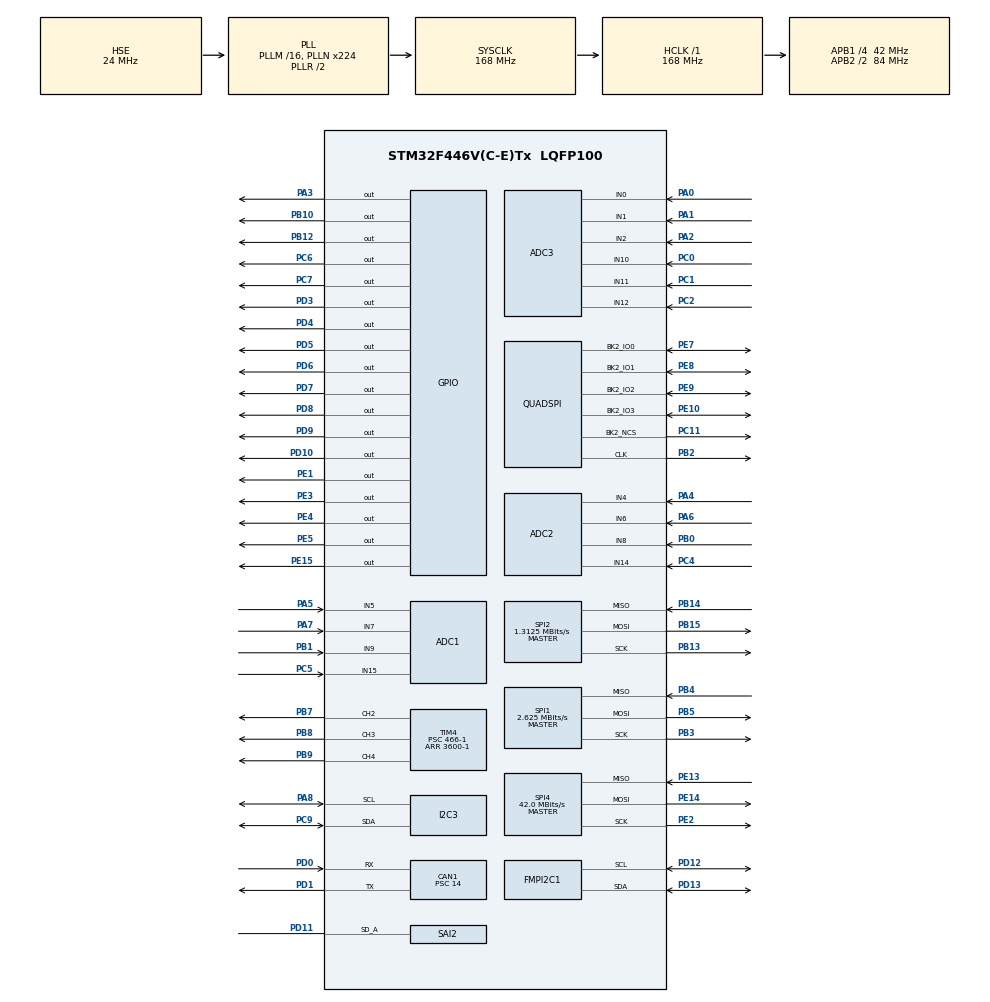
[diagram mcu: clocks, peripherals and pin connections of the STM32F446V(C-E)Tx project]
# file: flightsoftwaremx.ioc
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ADC1.Channel-1\#ChannelRegularConversion=ADC_CHANNEL_9
ADC1.Channel-2\#ChannelRegularConversion=ADC_CHANNEL_5
ADC1.Channel-3\#ChannelRegularConversion=ADC_CHANNEL_5
ADC1.Channel-4\#ChannelRegularConversion=ADC_CHANNEL_5
ADC1.ClockPrescaler=ADC_CLOCK_SYNC_PCLK_DIV4
ADC1.ContinuousConvMode=DISABLE
ADC1.DMAAccessMode=ADC_DMAACCESSMODE_2
ADC1.DMAContinuousRequests=ENABLE
ADC1.EOCSelection=ADC_EOC_SEQ_CONV
ADC1.ExternalTrigConv=ADC_EXTERNALTRIGCONV_T3_TRGO
ADC1.Mode=ADC_DUALMODE_INTERL
ADC1.NbrOfConversion=4
ADC1.NbrOfConversionFlag=1
ADC1.Rank-1\#ChannelRegularConversion=1
ADC1.Rank-2\#ChannelRegularConversion=2
ADC1.Rank-3\#ChannelRegularConversion=3
ADC1.Rank-4\#ChannelRegularConversion=4
ADC1.SamplingTime-1\#ChannelRegularConversion=ADC_SAMPLETIME_3CYCLES
ADC1.SamplingTime-2\#ChannelRegularConversion=ADC_SAMPLETIME_3CYCLES
ADC1.SamplingTime-3\#ChannelRegularConversion=ADC_SAMPLETIME_3CYCLES
ADC1.SamplingTime-4\#ChannelRegularConversion=ADC_SAMPLETIME_3CYCLES
ADC1.master=1
ADC2.Channel-0\#ChannelRegularConversion=ADC_CHANNEL_8
ADC2.Channel-1\#ChannelRegularConversion=ADC_CHANNEL_4
ADC2.Channel-2\#ChannelRegularConversion=ADC_CHANNEL_4
ADC2.Channel-3\#ChannelRegularConversion=ADC_CHANNEL_4
ADC2.DMAAccessMode=ADC_DMAACCESSMODE_2
ADC2.Mode=ADC_DUALMODE_INTERL
ADC2.NbrOfConversion=4
ADC2.NbrOfConversionFlag=1
ADC2.Rank-0\#ChannelRegularConversion=1
ADC2.Rank-1\#ChannelRegularConversion=2
ADC2.Rank-2\#ChannelRegularConversion=3
ADC2.Rank-3\#ChannelRegularConversion=4
ADC2.SamplingTime-0\#ChannelRegularConversion=ADC_SAMPLETIME_15CYCLES
ADC2.SamplingTime-1\#ChannelRegularConversion=ADC_SAMPLETIME_15CYCLES
ADC2.SamplingTime-2\#ChannelRegularConversion=ADC_SAMPLETIME_15CYCLES
ADC2.SamplingTime-3\#ChannelRegularConversion=ADC_SAMPLETIME_15CYCLES
ADC2.ScanConvMode=ENABLE
ADC3.Channel-0\#ChannelRegularConversion=ADC_CHANNEL_0
ADC3.Channel-1\#ChannelRegularConversion=ADC_CHANNEL_0
ADC3.Channel-2\#ChannelRegularConversion=ADC_CHANNEL_0
ADC3.Channel-3\#ChannelRegularConversion=ADC_CHANNEL_0
ADC3.Channel-4\#ChannelRegularConversion=ADC_CHANNEL_0
ADC3.Channel-5\#ChannelRegularConversion=ADC_CHANNEL_0
ADC3.DMAContinuousRequests=ENABLE
ADC3.EOCSelection=ADC_EOC_SEQ_CONV
ADC3.ExternalTrigConv=ADC_EXTERNALTRIGCONV_T3_TRGO
ADC3.NbrOfConversion=6
ADC3.NbrOfConversionFlag=1
ADC3.Rank-0\#ChannelRegularConversion=1
ADC3.Rank-1\#ChannelRegularConversion=2
ADC3.Rank-2\#ChannelRegularConversion=3
ADC3.Rank-3\#ChannelRegularConversion=4
ADC3.Rank-4\#ChannelRegularConversion=5
ADC3.Rank-5\#ChannelRegularConversion=6
ADC3.SamplingTime-0\#ChannelRegularConversion=ADC_SAMPLETIME_15CYCLES
ADC3.SamplingTime-1\#ChannelRegularConversion=ADC_SAMPLETIME_15CYCLES
ADC3.SamplingTime-2\#ChannelRegularConversion=ADC_SAMPLETIME_15CYCLES
ADC3.SamplingTime-3\#ChannelRegularConversion=ADC_SAMPLETIME_15CYCLES
ADC3.SamplingTime-4\#ChannelRegularConversion=ADC_SAMPLETIME_15CYCLES
ADC3.SamplingTime-5\#ChannelRegularConversion=ADC_SAMPLETIME_15CYCLES
ADC3.ScanConvMode=ENABLE
CAN1.BS1=CAN_BS1_2TQ
CAN1.BS2=CAN_BS2_3TQ
CAN1.CalculateBaudRate=499999
CAN1.CalculateTimeBit=2000
CAN1.CalculateTimeQuantum=333.33333333333337
CAN1.NART=ENABLE
CAN1.Prescaler=14
CAN1.SJW=CAN_SJW_2TQ
Dma.ADC1.0.Direction=DMA_PERIPH_TO_MEMORY
Dma.ADC1.0.FIFOMode=DMA_FIFOMODE_DISABLE
Dma.ADC1.0.Instance=DMA2_Stream0
Dma.ADC1.0.MemDataAlignment=DMA_MDATAALIGN_WORD
Dma.ADC1.0.MemInc=DMA_MINC_ENABLE
Dma.ADC1.0.Mode=DMA_CIRCULAR
Dma.ADC1.0.PeriphDataAlignment=DMA_PDATAALIGN_WORD
Dma.ADC1.0.PeriphInc=DMA_PINC_DISABLE
Dma.ADC1.0.Priority=DMA_PRIORITY_HIGH
Dma.ADC3.5.Direction=DMA_PERIPH_TO_MEMORY
Dma.ADC3.5.FIFOMode=DMA_FIFOMODE_DISABLE
Dma.ADC3.5.Instance=DMA2_Stream1
Dma.ADC3.5.MemDataAlignment=DMA_MDATAALIGN_WORD
Dma.ADC3.5.MemInc=DMA_MINC_ENABLE
Dma.ADC3.5.Mode=DMA_CIRCULAR
Dma.ADC3.5.PeriphDataAlignment=DMA_PDATAALIGN_WORD
Dma.ADC3.5.PeriphInc=DMA_PINC_DISABLE
Dma.ADC3.5.Priority=DMA_PRIORITY_HIGH
Dma.Request0=ADC1
Dma.Request1=SPI2_RX
Dma.Request2=SPI1_RX
Dma.Request3=SPI1_TX
Dma.Request4=TIM4_UP
Dma.Request5=ADC3
Dma.Request6=TIM4_CH3
Dma.Request7=SPI2_TX
Dma.SPI1_RX.2.Direction=DMA_PERIPH_TO_MEMORY
Dma.SPI1_RX.2.FIFOMode=DMA_FIFOMODE_DISABLE
Dma.SPI1_RX.2.Instance=DMA2_Stream2
Dma.SPI1_RX.2.MemDataAlignment=DMA_MDATAALIGN_BYTE
Dma.SPI1_RX.2.MemInc=DMA_MINC_ENABLE
Dma.SPI1_RX.2.Mode=DMA_NORMAL
Dma.SPI1_RX.2.PeriphDataAlignment=DMA_PDATAALIGN_BYTE
Dma.SPI1_RX.2.PeriphInc=DMA_PINC_DISABLE
Dma.SPI1_RX.2.Priority=DMA_PRIORITY_LOW
Dma.SPI1_TX.3.Direction=DMA_MEMORY_TO_PERIPH
Dma.SPI1_TX.3.FIFOMode=DMA_FIFOMODE_DISABLE
Dma.SPI1_TX.3.Instance=DMA2_Stream5
Dma.SPI1_TX.3.MemDataAlignment=DMA_MDATAALIGN_BYTE
Dma.SPI1_TX.3.MemInc=DMA_MINC_ENABLE
Dma.SPI1_TX.3.Mode=DMA_NORMAL
Dma.SPI1_TX.3.PeriphDataAlignment=DMA_PDATAALIGN_BYTE
Dma.SPI1_TX.3.PeriphInc=DMA_PINC_DISABLE
Dma.SPI1_TX.3.Priority=DMA_PRIORITY_LOW
Dma.SPI2_RX.1.Direction=DMA_PERIPH_TO_MEMORY
Dma.SPI2_RX.1.FIFOMode=DMA_FIFOMODE_DISABLE
Dma.SPI2_RX.1.Instance=DMA1_Stream3
Dma.SPI2_RX.1.MemDataAlignment=DMA_MDATAALIGN_BYTE
Dma.SPI2_RX.1.MemInc=DMA_MINC_ENABLE
Dma.SPI2_RX.1.Mode=DMA_NORMAL
Dma.SPI2_RX.1.PeriphDataAlignment=DMA_PDATAALIGN_BYTE
Dma.SPI2_RX.1.PeriphInc=DMA_PINC_DISABLE
Dma.SPI2_RX.1.Priority=DMA_PRIORITY_LOW
Dma.SPI2_TX.7.Direction=DMA_MEMORY_TO_PERIPH
Dma.SPI2_TX.7.FIFOMode=DMA_FIFOMODE_DISABLE
Dma.SPI2_TX.7.Instance=DMA1_Stream4
Dma.SPI2_TX.7.MemDataAlignment=DMA_MDATAALIGN_BYTE
Dma.SPI2_TX.7.MemInc=DMA_MINC_ENABLE
Dma.SPI2_TX.7.Mode=DMA_NORMAL
Dma.SPI2_TX.7.PeriphDataAlignment=DMA_PDATAALIGN_BYTE
Dma.SPI2_TX.7.PeriphInc=DMA_PINC_DISABLE
Dma.SPI2_TX.7.Priority=DMA_PRIORITY_LOW
Dma.TIM4_CH3.6.Direction=DMA_PERIPH_TO_MEMORY
Dma.TIM4_CH3.6.FIFOMode=DMA_FIFOMODE_DISABLE
Dma.TIM4_CH3.6.Instance=DMA1_Stream7
Dma.TIM4_CH3.6.MemDataAlignment=DMA_MDATAALIGN_HALFWORD
Dma.TIM4_CH3.6.MemInc=DMA_MINC_ENABLE
Dma.TIM4_CH3.6.Mode=DMA_NORMAL
Dma.TIM4_CH3.6.PeriphDataAlignment=DMA_PDATAALIGN_HALFWORD
Dma.TIM4_CH3.6.PeriphInc=DMA_PINC_DISABLE
Dma.TIM4_CH3.6.Priority=DMA_PRIORITY_LOW
Dma.TIM4_UP.4.Direction=DMA_PERIPH_TO_MEMORY
Dma.TIM4_UP.4.FIFOMode=DMA_FIFOMODE_DISABLE
Dma.TIM4_UP.4.Instance=DMA1_Stream6
Dma.TIM4_UP.4.MemDataAlignment=DMA_MDATAALIGN_HALFWORD
Dma.TIM4_UP.4.MemInc=DMA_MINC_ENABLE
Dma.TIM4_UP.4.Mode=DMA_NORMAL
Dma.TIM4_UP.4.PeriphDataAlignment=DMA_PDATAALIGN_HALFWORD
Dma.TIM4_UP.4.PeriphInc=DMA_PINC_DISABLE
Dma.TIM4_UP.4.Priority=DMA_PRIORITY_LOW
FMPI2C1.Timing=0x00A0A3F7
Mcu.Family=STM32F4
Mcu.Name=STM32F446V(C-E)Tx
Mcu.Package=LQFP100
NVIC.ADC_IRQn=true\:0\:0\:false\:false\:true\:true\:true\:true
NVIC.CAN1_RX0_IRQn=true\:0\:0\:false\:false\:true\:true\:true\:true
NVIC.DMA1_Stream3_IRQn=true\:0\:0\:false\:false\:true\:false\:true\:true
NVIC.DMA1_Stream4_IRQn=true\:0\:0\:false\:false\:true\:false\:true\:true
NVIC.DMA1_Stream6_IRQn=true\:0\:0\:false\:false\:true\:false\:true\:true
NVIC.DMA1_Stream7_IRQn=true\:0\:0\:false\:false\:true\:false\:true\:true
NVIC.DMA2_Stream0_IRQn=true\:0\:0\:false\:false\:true\:false\:true\:true
NVIC.DMA2_Stream1_IRQn=true\:0\:0\:false\:false\:true\:false\:true\:true
NVIC.DMA2_Stream2_IRQn=true\:0\:0\:false\:false\:true\:false\:true\:true
NVIC.DMA2_Stream5_IRQn=true\:0\:0\:false\:false\:true\:false\:true\:true
NVIC.PriorityGroup=NVIC_PRIORITYGROUP_4
PA0-WKUP.Signal=ADCx_IN0
PA1.Signal=ADCx_IN1
PA13.Mode=Serial_Wire
PA13.Signal=SYS_JTMS-SWDIO
PA14.Mode=Serial_Wire
PA14.Signal=SYS_JTCK-SWCLK
PA2.Signal=ADCx_IN2
PA3.Signal=GPIO_Output
PA4.Signal=ADCx_IN4
PA5.Signal=ADCx_IN5
PA6.Signal=ADCx_IN6
PA7.Signal=ADCx_IN7
PA8.Mode=I2C
PA8.Signal=I2C3_SCL
PB0.Signal=ADCx_IN8
PB1.Signal=ADCx_IN9
PB10.Signal=GPIO_Output
PB12.Signal=GPIO_Output
PB13.Mode=Full_Duplex_Master
PB13.Signal=SPI2_SCK
PB14.GPIO_PuPd=GPIO_NOPULL
PB14.Mode=Full_Duplex_Master
PB14.Signal=SPI2_MISO
PB14.Stacked=true
PB15.GPIO_PuPd=GPIO_PULLUP
PB15.Mode=Full_Duplex_Master
PB15.Signal=SPI2_MOSI
PB2.Mode=Single Bank 2
PB2.Signal=QUADSPI_CLK
PB3.Mode=Full_Duplex_Master
PB3.Signal=SPI1_SCK
PB4.Mode=Full_Duplex_Master
PB4.Signal=SPI1_MISO
PB5.Mode=Full_Duplex_Master
PB5.Signal=SPI1_MOSI
PB7.Signal=S_TIM4_CH2
PB8.Signal=S_TIM4_CH3
PB9.Signal=S_TIM4_CH4
PC0.Signal=ADCx_IN10
PC1.Signal=ADCx_IN11
PC11.Mode=Single Bank 2
PC11.Signal=QUADSPI_BK2_NCS
PC14-OSC32_IN.Mode=LSE-External-Oscillator
PC14-OSC32_IN.Signal=RCC_OSC32_IN
PC15-OSC32_OUT.Mode=LSE-External-Oscillator
PC15-OSC32_OUT.Signal=RCC_OSC32_OUT
PC2.Signal=ADCx_IN12
PC4.Signal=ADCx_IN14
PC5.Signal=ADCx_IN15
PC6.Signal=GPIO_Output
PC7.Signal=GPIO_Output
PC9.Mode=I2C
PC9.Signal=I2C3_SDA
PD0.GPIO_PuPd=GPIO_PULLUP
PD0.Mode=CAN_Activate
PD0.Signal=CAN1_RX
PD1.Mode=CAN_Activate
PD1.Signal=CAN1_TX
PD10.Signal=GPIO_Output
PD11.Mode=SAI_A_SPDIF
PD11.Signal=SAI2_SD_A
PD12.Mode=I2C
PD12.Signal=FMPI2C1_SCL
PD13.Mode=I2C
PD13.Signal=FMPI2C1_SDA
PD3.Signal=GPIO_Output
PD4.Signal=GPIO_Output
PD5.Signal=GPIO_Output
PD6.Signal=GPIO_Output
PD7.Signal=GPIO_Output
PD8.Signal=GPIO_Output
PD9.Signal=GPIO_Output
PE1.Signal=GPIO_Output
PE10.Mode=Single Bank 2
PE10.Signal=QUADSPI_BK2_IO3
PE13.Mode=Full_Duplex_Master
PE13.Signal=SPI4_MISO
PE14.Mode=Full_Duplex_Master
PE14.Signal=SPI4_MOSI
PE15.Signal=GPIO_Output
PE2.Mode=Full_Duplex_Master
PE2.Signal=SPI4_SCK
PE3.Signal=GPIO_Output
PE4.Signal=GPIO_Output
PE5.Signal=GPIO_Output
PE7.Mode=Single Bank 2
PE7.Signal=QUADSPI_BK2_IO0
PE8.Mode=Single Bank 2
PE8.Signal=QUADSPI_BK2_IO1
PE9.Mode=Single Bank 2
PE9.Signal=QUADSPI_BK2_IO2
PH0-OSC_IN.Mode=HSE-External-Oscillator
PH0-OSC_IN.Signal=RCC_OSC_IN
PH1-OSC_OUT.Mode=HSE-External-Oscillator
PH1-OSC_OUT.Signal=RCC_OSC_OUT
ProjectManager.HeapSize=0x200
ProjectManager.StackSize=0x400
ProjectManager.TargetToolchain=STM32CubeIDE
RCC.AHBFreq_Value=168000000
RCC.APB1CLKDivider=RCC_HCLK_DIV4
RCC.APB1Freq_Value=42000000
RCC.APB1TimFreq_Value=84000000
RCC.APB2CLKDivider=RCC_HCLK_DIV2
RCC.APB2Freq_Value=84000000
RCC.APB2TimFreq_Value=168000000
RCC.CortexFreq_Value=168000000
RCC.HCLKFreq_Value=168000000
RCC.HSE_VALUE=24000000
RCC.PLLN=224
RCC.PLLQ=7
RCC.PLLSourceVirtual=RCC_PLLSOURCE_HSE
RCC.SYSCLKFreq_VALUE=168000000
RCC.SYSCLKSource=RCC_SYSCLKSOURCE_PLLRCLK
RCC.USBFreq_Value=48000000
RCC.VCOOutputFreq_Value=336000000
SAI2.Instance-SAI_A_SPDIF=SAI$Index_Block_A
SAI2.RealAudioFreq-SAI_A_SPDIF=2.25 MHz
SAI2.VirtualMode-SAI_A_SPDIF=VM_SPDIF
SH.ADCx_IN0.0=ADC3_IN0,IN0
SH.ADCx_IN1.0=ADC3_IN1,IN1
SH.ADCx_IN10.0=ADC3_IN10,IN10
SH.ADCx_IN11.0=ADC3_IN11,IN11
SH.ADCx_IN12.0=ADC3_IN12,IN12
SH.ADCx_IN14.0=ADC2_IN14,IN14
SH.ADCx_IN15.0=ADC1_IN15,IN15
SH.ADCx_IN2.0=ADC3_IN2,IN2
SH.ADCx_IN4.0=ADC2_IN4,IN4
SH.ADCx_IN5.0=ADC1_IN5,IN5
SH.ADCx_IN6.0=ADC2_IN6,IN6
SH.ADCx_IN7.0=ADC1_IN7,IN7
SH.ADCx_IN8.0=ADC2_IN8,IN8
SH.ADCx_IN9.0=ADC1_IN9,IN9
SH.S_TIM4_CH2.0=TIM4_CH2,PWM Generation2 CH2
SH.S_TIM4_CH3.0=TIM4_CH3,PWM Generation3 CH3
SH.S_TIM4_CH4.0=TIM4_CH4,PWM Generation4 CH4
SPI1.BaudRatePrescaler=SPI_BAUDRATEPRESCALER_32
SPI1.CalculateBaudRate=2.625 MBits/s
SPI1.Direction=SPI_DIRECTION_2LINES
SPI1.Mode=SPI_MODE_MASTER
SPI1.VirtualType=VM_MASTER
SPI2.BaudRatePrescaler=SPI_BAUDRATEPRESCALER_32
SPI2.CLKPhase=SPI_PHASE_2EDGE
SPI2.CLKPolarity=SPI_POLARITY_HIGH
SPI2.CalculateBaudRate=1.3125 MBits/s
SPI2.Direction=SPI_DIRECTION_2LINES
SPI2.Mode=SPI_MODE_MASTER
SPI2.VirtualType=VM_MASTER
SPI4.CalculateBaudRate=42.0 MBits/s
SPI4.Direction=SPI_DIRECTION_2LINES
SPI4.Mode=SPI_MODE_MASTER
SPI4.VirtualType=VM_MASTER
TIM3.Channel-Output\ Compare1\ No\ Output=TIM_CHANNEL_1
TIM3.OC1Preload=ENABLE
TIM3.Period=255
TIM3.Prescaler=1312
TIM3.TIM_MasterOutputTrigger=TIM_TRGO_UPDATE
TIM4.AutoReloadPreload=TIM_AUTORELOAD_PRELOAD_ENABLE
TIM4.Channel-PWM\ Generation2\ CH2=TIM_CHANNEL_2
TIM4.Channel-PWM\ Generation3\ CH3=TIM_CHANNEL_3
TIM4.Channel-PWM\ Generation4\ CH4=TIM_CHANNEL_4
TIM4.Period=3600-1
TIM4.Prescaler=466-1
TIM4.Pulse-PWM\ Generation2\ CH2=290
TIM4.Pulse-PWM\ Generation3\ CH3=270
TIM4.Pulse-PWM\ Generation4\ CH4=280
VP_TIM3_VS_ClockSourceINT.Mode=Internal
VP_TIM3_VS_no_output1.Mode=Output Compare1 No Output
board=custom

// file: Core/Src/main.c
/* USER CODE BEGIN Header */
/**
 ******************************************************************************
 * @file           : main.c
 * @brief          : Main program body
 ******************************************************************************
 * @attention
 *
 * Copyright (c) 2024 STMicroelectronics.
 * All rights reserved.
 *
 * This software is licensed under terms that can be found in the LICENSE file
 * in the root directory of this software component.
 * If no LICENSE file comes with this software, it is provided AS-IS.
 *
 ******************************************************************************
 */
/* USER CODE END Header */
#include "main.h"
#include "adc.h"
#include "can.h"
#include "dma.h"
#include "fmpi2c.h"
#include "i2c.h"
#include "quadspi.h"
#include "sai.h"
#include "spi.h"
#include "tim.h"
#include "gpio.h"

/* USER CODE BEGIN Includes */
#include <stm32f4xx_hal.h>
/* USER CODE END Includes */

/* USER CODE BEGIN PD */
#include "AD7124.h"
/* USER CODE END PD */

void SystemClock_Config(void);

/* USER CODE BEGIN 0 */
//static CAN_TxHeaderTypeDef TxHeader;
//static uint32_t TxMailbox;
//static uint8_t TxData[5];

int32_t value[16];
float voltage[16];

//static CAN_RxHeaderTypeDef RxHeader;
//static uint8_t RxData[4];
//static uint8_t count = 0;

//void HAL_CAN_RxFifo0MsgPendingCallback(CAN_HandleTypeDef *hcan1) {
//	HAL_CAN_GetRxMessage(hcan1, CAN_RX_FIFO0, &RxHeader, RxData);
//	if ((RxHeader.StdId = 0x1DA)) {
//		count = RxHeader.DLC;
//
//		switch (RxData[0]) {
//		// Set servo angle
//		case 0xAA:
//			int16_t packet = RxData[2] << 8 | RxData[3];
//			set_servo_angle(packet & 0b11, packet >> 2);
//			break;
//			// Enable/Disable servo power
//		case 0xB0:
//			packet = RxData[3];
//			enable_servo(packet & 0b11, (packet >> 2) != 0);
//			break;
//			// Power/Off Solenoid
//		case 0xEB:
//			enable_solinoid(RxData[2], RxData[3] != 0);
//			break;
//			// Send Data
//		case 0xDA:
//			for (int i = 0; i < 22; i++) {
//				TxData[0] = i;
//				TxData[1] = 0xBA;
//				TxData[2] = 0xDA;
//				TxData[3] = 0x55;
//				TxData[4] = 0x69;
//				if ((HAL_CAN_AddTxMessage(hcan1, &TxHeader, TxData, &TxMailbox))
//						!= HAL_OK)
//					return;
//			}
//			break;
//			// PCB^2 Error Signal
//		case 0xDE:
//		}
//
//	}
//}

/* USER CODE END 0 */

int main(void) {

	/* USER CODE BEGIN 1 */
	/* FPU settings ------------------------------------------------------------*/

	/* USER CODE END 1 */

	/* MCU Configuration--------------------------------------------------------*/

	/* Reset of all peripherals, Initializes the Flash interface and the Systick. */
	HAL_Init();

	/* Configure the system clock */
	SystemClock_Config();

	/* Initialize all configured peripherals */
	MX_GPIO_Init();
	MX_DMA_Init();
	MX_ADC1_Init();
	MX_ADC2_Init();
	MX_CAN1_Init();
	MX_FMPI2C1_Init();
	MX_I2C3_Init();
	MX_QUADSPI_Init();
	MX_SPI1_Init();
	MX_SPI2_Init();
	MX_TIM4_Init();
	MX_SPI4_Init();
	MX_TIM3_Init();
	MX_ADC3_Init();
	MX_SAI2_Init();
	/* USER CODE BEGIN 2 */
//	HAL_GPIO_WritePin(GPIOD, GPIO_PIN_10, GPIO_PIN_SET);
//	HAL_Delay(1000);
//
//	HAL_TIM_PWM_Start(&htim4, TIM_CHANNEL_2);
//	HAL_TIM_PWM_Start(&htim4, TIM_CHANNEL_3);
//	HAL_TIM_PWM_Start(&htim4, TIM_CHANNEL_4);
//
//	HAL_CAN_Start(&hcan1);
//	HAL_CAN_ActivateNotification(&hcan1, CAN_IT_RX_FIFO0_MSG_PENDING); //activates rx interrupt
//
//	//HAL_ADC_Start(&hadc2);
//	HAL_ADC_Start(&hadc2);
//	HAL_ADCEx_MultiModeStart_DMA(&hadc1, pt_adc_buff, 4);
//	//HAL_ADC_Start_DMA(&hadc1, adc_buff_ptr, 8);
//	HAL_ADC_Start_IT(&hadc1);
//	HAL_ADC_Start_IT(&hadc3);
//	HAL_ADC_Start_DMA(&hadc3, ctrl_adc_buff, 6);
//	HAL_TIM_Base_Start(&htim3);
//
//	TxHeader.IDE = CAN_ID_STD;
//	TxHeader.StdId = 0x2CB;
//	TxHeader.RTR = CAN_RTR_DATA;
//	TxHeader.DLC = 5;
//
//	TxData[0] = 0xEF;
//	TxData[1] = 0xBE;
//	TxData[2] = 0xAD;
//	TxData[3] = 0xDE;
//	if ((HAL_CAN_AddTxMessage(&hcan1, &TxHeader, TxData, &TxMailbox))
//			!= HAL_OK) {
//		Error_Handler();
//	}
//
	int8_t flag;

	struct ad7124_dev ad7124_device;

	flag = ad7124_init(&ad7124_device, &hspi2, GPIOD, GPIO_PIN_10);

	if (flag != 0)
		return flag;
//
//	HAL_Delay(100);
//
	ad7124_noCheckReadRegister(&ad7124_device, &ad7124_device.regs[0x06]);

	/* USER CODE END 2 */

	/* Infinite loop */
	/* USER CODE BEGIN WHILE */

	while (1) {

		//ad7124reading();
		/* USER CODE END WHILE */

		/* USER CODE BEGIN 3 */
		value[0] = ad7124_adcRead(&ad7124_device, 0);
		value[1] = ad7124_adcRead(&ad7124_device, 1);
		value[2] = ad7124_adcRead(&ad7124_device, 2);
		value[3] = ad7124_adcRead(&ad7124_device, 3);
		value[4] = ad7124_adcRead(&ad7124_device, 4);
		value[5] = ad7124_adcRead(&ad7124_device, 5);
		value[6] = ad7124_adcRead(&ad7124_device, 6);
		value[7] = ad7124_adcRead(&ad7124_device, 7);
		value[8] = ad7124_adcRead(&ad7124_device, 8);
		value[9] = ad7124_adcRead(&ad7124_device, 9);
		value[10] = ad7124_adcRead(&ad7124_device, 10);
		value[11] = ad7124_adcRead(&ad7124_device, 11);
		value[12] = ad7124_adcRead(&ad7124_device, 12);
		value[13] = ad7124_adcRead(&ad7124_device, 13);
		value[14] = ad7124_adcRead(&ad7124_device, 14);
		value[15] = ad7124_adcRead(&ad7124_device, 15);

		HAL_Delay(50);
		voltage[0] = ad7124_toVoltage(value[0], 1, 3.3, 1);
		voltage[1] = ad7124_toVoltage(value[1], 1, 3.3, 1);
		voltage[2] = ad7124_toVoltage(value[2], 1, 3.3, 1);
		voltage[3] = ad7124_toVoltage(value[3], 1, 3.3, 1);
		voltage[4] = ad7124_toVoltage(value[4], 1, 3.3, 1);
		voltage[5] = ad7124_toVoltage(value[5], 1, 3.3, 1);
		voltage[6] = ad7124_toVoltage(value[6], 1, 3.3, 1);
		voltage[7] = ad7124_toVoltage(value[7], 1, 3.3, 1);
		voltage[8] = ad7124_toVoltage(value[8], 1, 3.3, 1);
		voltage[9] = ad7124_toVoltage(value[9], 1, 3.3, 1);
		voltage[10] = ad7124_toVoltage(value[10], 1, 3.3, 1);
		voltage[11] = ad7124_toVoltage(value[11], 1, 3.3, 1);
		voltage[12] = ad7124_toVoltage(value[12], 1, 3.3, 1);
		voltage[13] = ad7124_toVoltage(value[13], 1, 3.3, 1);
		voltage[14] = ad7124_toVoltage(value[14], 1, 3.3, 1);
		voltage[15] = ad7124_toVoltage(value[15], 1, 3.3, 1);
		HAL_Delay(50);

//		for (i = 0; i < 22; i++) {
//			TxData[0] = i;
//			TxData[1] = 0xBA;
//			TxData[2] = 0xDA;
//			TxData[3] = 0x55;
//			TxData[4] = 0x69;
//			if ((HAL_CAN_AddTxMessage(&hcan1, &TxHeader, TxData, &TxMailbox))
//					!= HAL_OK)
//				return 0;
//			//	  				}
//			HAL_Delay(500);
//			HAL_GPIO_TogglePin(GPIOD, GPIO_PIN_3);
//		}
	}
	/* USER CODE END 3 */
}

void SystemClock_Config(void) {
	RCC_OscInitTypeDef RCC_OscInitStruct = { 0 };
	RCC_ClkInitTypeDef RCC_ClkInitStruct = { 0 };

	/** Configure the main internal regulator output voltage
	 */
	__HAL_RCC_PWR_CLK_ENABLE();
	__HAL_PWR_VOLTAGESCALING_CONFIG(PWR_REGULATOR_VOLTAGE_SCALE1);

	/** Initializes the RCC Oscillators according to the specified parameters
	 * in the RCC_OscInitTypeDef structure.
	 */
	RCC_OscInitStruct.OscillatorType = RCC_OSCILLATORTYPE_HSE;
	RCC_OscInitStruct.HSEState = RCC_HSE_ON;
	RCC_OscInitStruct.PLL.PLLState = RCC_PLL_ON;
	RCC_OscInitStruct.PLL.PLLSource = RCC_PLLSOURCE_HSE;
	RCC_OscInitStruct.PLL.PLLM = 16;
	RCC_OscInitStruct.PLL.PLLN = 224;
	RCC_OscInitStruct.PLL.PLLP = RCC_PLLP_DIV2;
	RCC_OscInitStruct.PLL.PLLQ = 7;
	RCC_OscInitStruct.PLL.PLLR = 2;
	if (HAL_RCC_OscConfig(&RCC_OscInitStruct) != HAL_OK) {
		Error_Handler();
	}

	/** Initializes the CPU, AHB and APB buses clocks
	 */
	RCC_ClkInitStruct.ClockType = RCC_CLOCKTYPE_HCLK | RCC_CLOCKTYPE_SYSCLK
			| RCC_CLOCKTYPE_PCLK1 | RCC_CLOCKTYPE_PCLK2;
	RCC_ClkInitStruct.SYSCLKSource = RCC_SYSCLKSOURCE_PLLRCLK;
	RCC_ClkInitStruct.AHBCLKDivider = RCC_SYSCLK_DIV1;
	RCC_ClkInitStruct.APB1CLKDivider = RCC_HCLK_DIV4;
	RCC_ClkInitStruct.APB2CLKDivider = RCC_HCLK_DIV2;

	if (HAL_RCC_ClockConfig(&RCC_ClkInitStruct, FLASH_LATENCY_5) != HAL_OK) {
		Error_Handler();
	}
}

/* USER CODE BEGIN 4 */
//void HAL_ADC_ConvCpltCallback(ADC_HandleTypeDef *hadc) {
//	if (hadc->Instance == ADC1) {
//		for (int i = 0; i < 8; i++) {
//			if (i % 2)
//				pt_data[i] = (float) ((3.3f)
//						* ((pt_adc_buff[i / 2] & 0x0FFF0000) >> 16) / 4096);
//			else
//				pt_data[i] = (float) ((3.3f) * (pt_adc_buff[i / 2] & 0x00000FFF)
//						/ 4096);
//
//			pt_data[i] = pt_data[i] - 0.6;
//			pt_data[i] *= (float) (pt_maxes[i] / (2.4f));
//		}
//		HAL_GPIO_TogglePin(GPIOD, GPIO_PIN_3);
//	}
//}

/* USER CODE END 4 */

void Error_Handler(void) {
	__disable_irq();
	while (1) {
	}
}
